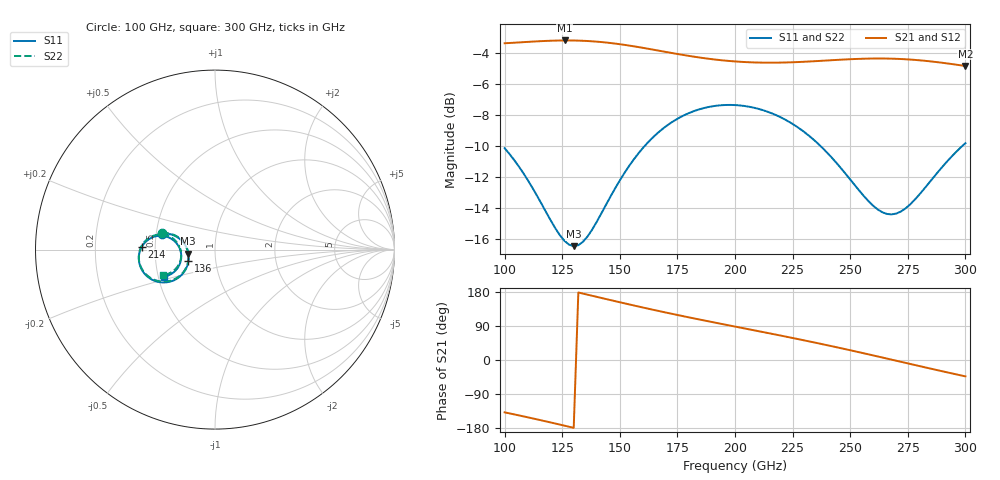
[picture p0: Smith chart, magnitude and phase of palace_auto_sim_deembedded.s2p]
! Created with skrf 1.11.0 (http://scikit-rf.org).
# GHz S DB R 50.0
!freq dBS11 angS11 dBS21 angS21 dBS12 angS12 dBS22 angS22
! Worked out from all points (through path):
!   101 points, 100 GHz to 300 GHz, reference 50 ohm
!   highest |S21| = -3.21 dB at 126 GHz (marker M1); lowest = -4.9 dB at 300 GHz (marker M2)
!   group delay of S21, straight-line fit = 3.63 ps
!   lowest |S11| = -16.5 dB at 130 GHz (marker M3), VSWR 1.35, Z = 37 - j1.68 ohm
!   |S11| at or under -10 dB: start of sweep to 160.9 GHz; 237 GHz to 298.7 GHz (61.69 GHz wide, 23 % of centre)
!   |S22| runs from -16.5 to -7.4 dB; largest |S21 - S12| = 7.9e-14
!   S11 on the Smith chart (normalised r, x): 100 GHz: 0.53, +0.10; 136 GHz: 0.74, -0.10; 214 GHz: 0.42, +0.02; 300 GHz: 0.53, -0.18
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100  -10.15 163.5  -3.39 -138.1  -3.39 -138.1  -10.16 162.9
114  -13.19 161.9  -3.27 -156.6  -3.27 -156.6  -13.21 161.2
126  -16.12 178.2  -3.21 -173.3  -3.21 -173.3  -16.14 177.5
130  -16.46 -171.5  -3.22 -179.0  -3.22 -179.0  -16.48 -172.2
134  -16.18 -161.1  -3.23 175.3  -3.23 175.3  -16.20 -161.8
136  -15.83 -156.5  -3.25 172.4  -3.25 172.4  -15.85 -157.2
144  -13.80 -145.0  -3.34 160.9  -3.34 160.9  -13.81 -145.8
152  -11.75 -142.5  -3.50 149.6  -3.50 149.6  -11.76 -143.3
160  -10.14 -144.8  -3.69 138.6  -3.69 138.6  -10.15 -145.7
168  -8.97 -149.3  -3.90 127.9  -3.90 127.9  -8.99 -150.2
184  -7.67 -160.7  -4.30 107.6  -4.30 107.6  -7.68 -161.7
200  -7.37 -172.6  -4.56 88.2  -4.56 88.2  -7.39 -173.7
214  -7.79 177.7  -4.64 71.5  -4.64 71.5  -7.81 176.5
224  -8.50 171.5  -4.62 59.3  -4.62 59.3  -8.51 170.3
234  -9.58 166.9  -4.55 46.8  -4.55 46.8  -9.60 165.5
252  -12.53 167.4  -4.41 23.1  -4.41 23.1  -12.55 166.0
262  -14.10 177.9  -4.37 9.3  -4.37 9.3  -14.13 176.4
268  -14.41 -172.4  -4.39 0.9  -4.39 0.9  -14.44 -173.9
274  -14.03 -162.8  -4.42 -7.5  -4.42 -7.5  -14.06 -164.3
282  -12.78 -154.2  -4.52 -18.7  -4.52 -18.7  -12.81 -155.7
292  -11.01 -150.9  -4.69 -32.5  -4.69 -32.5  -11.04 -152.5
300  -9.83 -152.3  -4.86 -43.2  -4.86 -43.2  -9.85 -153.9
